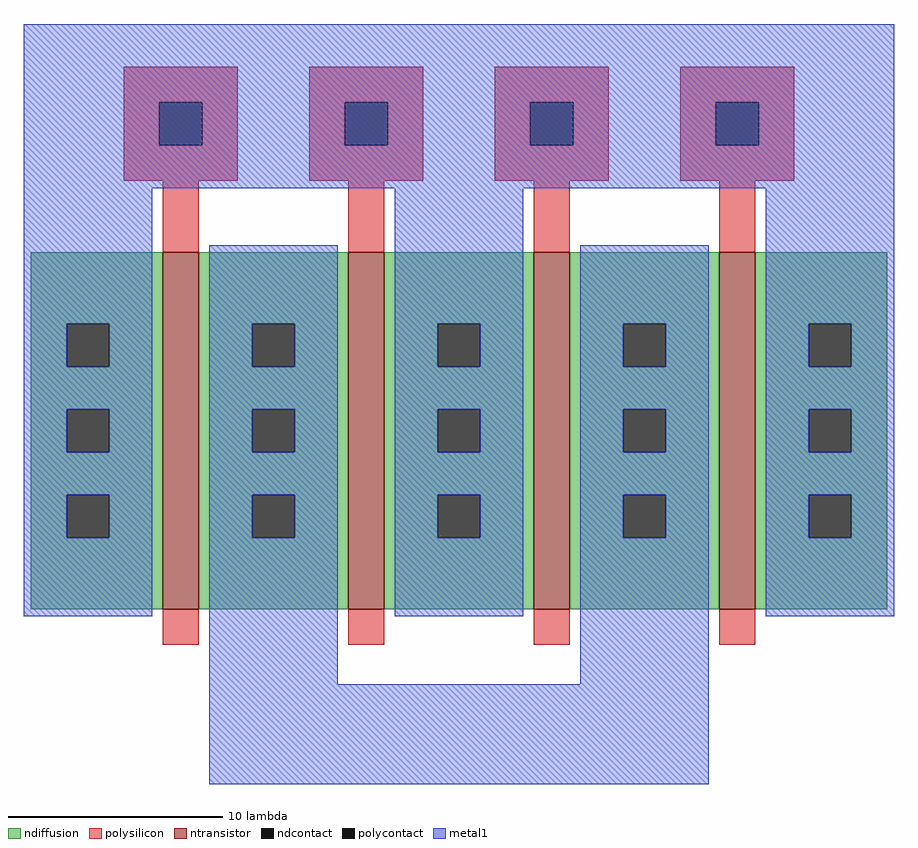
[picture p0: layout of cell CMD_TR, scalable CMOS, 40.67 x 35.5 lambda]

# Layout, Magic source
magic
tech scmos
magscale 1 6
<< metal1 >>
rect 10 132 254 178
rect 10 116 46 132
rect 114 116 150 132
rect 218 116 254 132
rect 62 -7 98 12
rect 166 -7 202 12
rect 62 -35 202 -7
use nmos4_CDNS_704676826055  nmos4_CDNS_704676826055_0
transform 1 0 0 0 1 0
box 10 4 254 168
<< end >>

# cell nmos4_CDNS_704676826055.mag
magic
tech scmos
magscale 1 6
<< ntransistor >>
rect 49 14 59 114
rect 101 14 111 114
rect 153 14 163 114
rect 205 14 215 114
<< ndiffusion >>
rect 12 94 49 114
rect 12 82 22 94
rect 34 82 49 94
rect 12 70 49 82
rect 12 58 22 70
rect 34 58 49 70
rect 12 46 49 58
rect 12 34 22 46
rect 34 34 49 46
rect 12 14 49 34
rect 59 94 101 114
rect 59 82 74 94
rect 86 82 101 94
rect 59 70 101 82
rect 59 58 74 70
rect 86 58 101 70
rect 59 46 101 58
rect 59 34 74 46
rect 86 34 101 46
rect 59 14 101 34
rect 111 94 153 114
rect 111 82 126 94
rect 138 82 153 94
rect 111 70 153 82
rect 111 58 126 70
rect 138 58 153 70
rect 111 46 153 58
rect 111 34 126 46
rect 138 34 153 46
rect 111 14 153 34
rect 163 94 205 114
rect 163 82 178 94
rect 190 82 205 94
rect 163 70 205 82
rect 163 58 178 70
rect 190 58 205 70
rect 163 46 205 58
rect 163 34 178 46
rect 190 34 205 46
rect 163 14 205 34
rect 215 94 252 114
rect 215 82 230 94
rect 242 82 252 94
rect 215 70 252 82
rect 215 58 230 70
rect 242 58 252 70
rect 215 46 252 58
rect 215 34 230 46
rect 242 34 252 46
rect 215 14 252 34
<< ndcontact >>
rect 22 82 34 94
rect 22 58 34 70
rect 22 34 34 46
rect 74 82 86 94
rect 74 58 86 70
rect 74 34 86 46
rect 126 82 138 94
rect 126 58 138 70
rect 126 34 138 46
rect 178 82 190 94
rect 178 58 190 70
rect 178 34 190 46
rect 230 82 242 94
rect 230 58 242 70
rect 230 34 242 46
<< polysilicon >>
rect 49 114 59 134
rect 101 114 111 134
rect 153 114 163 134
rect 205 114 215 134
rect 49 4 59 14
rect 101 4 111 14
rect 153 4 163 14
rect 205 4 215 14
<< metal1 >>
rect 10 94 46 116
rect 10 82 22 94
rect 34 82 46 94
rect 10 70 46 82
rect 10 58 22 70
rect 34 58 46 70
rect 10 46 46 58
rect 10 34 22 46
rect 34 34 46 46
rect 10 12 46 34
rect 62 94 98 116
rect 62 82 74 94
rect 86 82 98 94
rect 62 70 98 82
rect 62 58 74 70
rect 86 58 98 70
rect 62 46 98 58
rect 62 34 74 46
rect 86 34 98 46
rect 62 12 98 34
rect 114 94 150 116
rect 114 82 126 94
rect 138 82 150 94
rect 114 70 150 82
rect 114 58 126 70
rect 138 58 150 70
rect 114 46 150 58
rect 114 34 126 46
rect 138 34 150 46
rect 114 12 150 34
rect 166 94 202 116
rect 166 82 178 94
rect 190 82 202 94
rect 166 70 202 82
rect 166 58 178 70
rect 190 58 202 70
rect 166 46 202 58
rect 166 34 178 46
rect 190 34 202 46
rect 166 12 202 34
rect 218 94 254 116
rect 218 82 230 94
rect 242 82 254 94
rect 218 70 254 82
rect 218 58 230 70
rect 242 58 254 70
rect 218 46 254 58
rect 218 34 230 46
rect 242 34 254 46
rect 218 12 254 34
use poly1cont_CDNS_704676826053  poly1cont_CDNS_704676826053_0
transform 1 0 36 0 1 132
box 0 0 36 36
use poly1cont_CDNS_704676826053  poly1cont_CDNS_704676826053_1
transform 1 0 88 0 1 132
box 0 0 36 36
use poly1cont_CDNS_704676826053  poly1cont_CDNS_704676826053_2
transform 1 0 140 0 1 132
box 0 0 36 36
use poly1cont_CDNS_704676826053  poly1cont_CDNS_704676826053_3
transform 1 0 192 0 1 132
box 0 0 36 36
<< end >>

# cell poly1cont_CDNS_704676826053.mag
magic
tech scmos
magscale 1 3
<< polysilicon >>
rect 1 12 17 17
rect 1 6 6 12
rect 12 6 17 12
rect 1 1 17 6
<< polycontact >>
rect 6 6 12 12
<< metal1 >>
rect 0 12 18 18
rect 0 6 6 12
rect 12 6 18 12
rect 0 0 18 6
<< end >>
